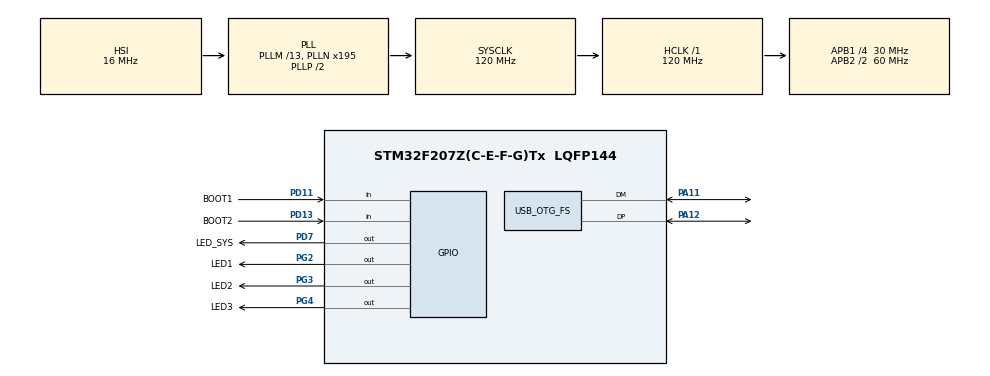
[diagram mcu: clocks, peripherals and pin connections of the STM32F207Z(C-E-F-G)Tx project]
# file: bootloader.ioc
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Mcu.Family=STM32F2
USB_DEVICE.CLASS_NAME_FS=DFU
RCC.CortexFreq_Value=120000000
PG2.GPIO_PuPd=GPIO_NOPULL
USB_DEVICE.VirtualModeFS=Dfu_FS
PG3.Signal=GPIO_Output
PG2.Signal=GPIO_Output
PG4.Signal=GPIO_Output
PD7.Signal=GPIO_Output
PA11.Mode=Device_Only
RCC.APB1CLKDivider=RCC_HCLK_DIV4
VP_USB_DEVICE_VS_USB_DEVICE_DFU_FS.Mode=DFU_FS
RCC.SYSCLKSource=RCC_SYSCLKSOURCE_PLLCLK
ProjectManager.StackSize=0x400
PD13.Signal=GPIO_Input
PA12.Signal=USB_OTG_FS_DP
PG2.PinState=GPIO_PIN_SET
ProjectManager.TargetToolchain=STM32CubeIDE
RCC.HCLKFreq_Value=120000000
PD11.GPIO_Label=BOOT1
RCC.APB2TimFreq_Value=120000000
USB_DEVICE.PRODUCT_STRING_DFU_FS=Energan DownLoad Firmware Update
RCC.LSE_VALUE=32768
RCC.AHBFreq_Value=120000000
PD7.PinState=GPIO_PIN_SET
RCC.HSE_VALUE=25000000
USB_DEVICE.USBD_DFU_APP_DEFAULT_ADD-DFU_FS=0x08000000
USB_DEVICE.MANUFACTURER_STRING-DFU_FS=Energan
board=custom
RCC.VCOOutputFreq_Value=240000000
PG3.PinState=GPIO_PIN_SET
RCC.APB2Freq_Value=60000000
USB_DEVICE.VirtualMode-DFU_FS=Dfu
PG4.GPIO_Label=LED3
Mcu.Name=STM32F207Z(C-E-F-G)Tx
PD7.GPIO_Label=LED_SYS
RCC.48MHZClocksFreq_Value=48000000
RCC.SYSCLKFreq_VALUE=120000000
PD13.GPIO_Label=BOOT2
Mcu.Package=LQFP144
PG4.PinState=GPIO_PIN_SET
PA12.Mode=Device_Only
PD11.Signal=GPIO_Input
NVIC.OTG_FS_IRQn=true\:0\:0\:false\:false\:true\:false\:true
PA11.Signal=USB_OTG_FS_DM
USB_OTG_FS.VirtualMode=Device_Only
ProjectManager.HeapSize=0x200
USB_DEVICE.USBD_DFU_MEDIA-DFU_FS=@Internal Flash/0x08008000/02*016Kg,01*064Kg,07*128Kg
RCC.HSI_VALUE=16000000
RCC.PLLQ=5
NVIC.PriorityGroup=NVIC_PRIORITYGROUP_4
RCC.APB2CLKDivider=RCC_HCLK_DIV2
RCC.PLLM=13
RCC.PLLN=195
RCC.APB1TimFreq_Value=60000000
PG3.GPIO_Label=LED2
RCC.APB1Freq_Value=30000000
PG2.GPIO_Label=LED1

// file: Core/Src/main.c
/* USER CODE BEGIN Header */
/**
  ******************************************************************************
  * @file           : main.c
  * @brief          : Main program body
  ******************************************************************************
  * @attention
  *
  * <h2><center>&copy; Copyright (c) 2020 STMicroelectronics.
  * All rights reserved.</center></h2>
  *
  * This software component is licensed by ST under BSD 3-Clause license,
  * the "License"; You may not use this file except in compliance with the
  * License. You may obtain a copy of the License at:
  *                        opensource.org/licenses/BSD-3-Clause
  *
  ******************************************************************************
  */
/* USER CODE END Header */
#include "main.h"
#include "usb_device.h"

/* USER CODE BEGIN Includes */
#include "usbd_dfu_if.h"
#include "version.h"
/* USER CODE END Includes */

/* USER CODE BEGIN PTD */
volatile const uint32_t version __attribute__((section (".version"))) =  0U | ( ( ( uint32_t )( FIRMWARE_VERSION_MAJOR ) ) << 16U ) |
                                                                              ( ( ( uint32_t )( FIRMWARE_VERSION_MINOR ) ) << 8U )  |
                                                                                ( ( uint32_t )( FIRMWARE_VERSION_PATCH ) );
/* USER CODE END PTD */

void SystemClock_Config(void);
static void MX_GPIO_Init(void);

int main(void)
{

  /* MCU Configuration--------------------------------------------------------*/

  /* Reset of all peripherals, Initializes the Flash interface and the Systick. */
  HAL_Init();

  /* Configure the system clock */
  SystemClock_Config();

  /* Initialize all configured peripherals */
  MX_GPIO_Init();
  /* USER CODE BEGIN 2 */
  if ( ( HAL_GPIO_ReadPin( BOOT1_GPIO_Port, BOOT1_Pin ) == GPIO_PIN_RESET ) &&
       ( HAL_GPIO_ReadPin( BOOT2_GPIO_Port, BOOT2_Pin ) == GPIO_PIN_RESET ) )
  {
    MX_USB_DEVICE_Init();
    HAL_GPIO_WritePin( LED1_GPIO_Port,    LED1_Pin,    GPIO_PIN_RESET );
    HAL_GPIO_WritePin( LED2_GPIO_Port,    LED2_Pin,    GPIO_PIN_RESET );
    HAL_GPIO_WritePin( LED3_GPIO_Port,    LED3_Pin,    GPIO_PIN_RESET );
    HAL_GPIO_WritePin( LED_SYS_GPIO_Port, LED_SYS_Pin, GPIO_PIN_RESET );
  }
  else
  {
    uint32_t  jumpAddress = *( __IO uint32_t* )( APP_ADDRESS + 4U );
    pFunction jump        = ( pFunction )jumpAddress;
    HAL_RCC_DeInit();
    HAL_DeInit();
    SysTick->CTRL = 0U;
    SysTick->LOAD = 0U;
    SysTick->VAL  = 0U;
    SCB->VTOR     = APP_ADDRESS;
    __set_MSP( *( __IO uint32_t* ) APP_ADDRESS );
    jump();
  }
  /* USER CODE END 2 */

  /* Infinite loop */
  while (1)
  {

  }
}

void SystemClock_Config(void)
{
  RCC_OscInitTypeDef RCC_OscInitStruct = {0};
  RCC_ClkInitTypeDef RCC_ClkInitStruct = {0};

  /** Initializes the RCC Oscillators according to the specified parameters
  * in the RCC_OscInitTypeDef structure.
  */
  RCC_OscInitStruct.OscillatorType = RCC_OSCILLATORTYPE_HSI;
  RCC_OscInitStruct.HSIState = RCC_HSI_ON;
  RCC_OscInitStruct.HSICalibrationValue = RCC_HSICALIBRATION_DEFAULT;
  RCC_OscInitStruct.PLL.PLLState = RCC_PLL_ON;
  RCC_OscInitStruct.PLL.PLLSource = RCC_PLLSOURCE_HSI;
  RCC_OscInitStruct.PLL.PLLM = 13;
  RCC_OscInitStruct.PLL.PLLN = 195;
  RCC_OscInitStruct.PLL.PLLP = RCC_PLLP_DIV2;
  RCC_OscInitStruct.PLL.PLLQ = 5;
  if (HAL_RCC_OscConfig(&RCC_OscInitStruct) != HAL_OK)
  {
    Error_Handler();
  }
  /** Initializes the CPU, AHB and APB buses clocks
  */
  RCC_ClkInitStruct.ClockType = RCC_CLOCKTYPE_HCLK|RCC_CLOCKTYPE_SYSCLK
                              |RCC_CLOCKTYPE_PCLK1|RCC_CLOCKTYPE_PCLK2;
  RCC_ClkInitStruct.SYSCLKSource = RCC_SYSCLKSOURCE_PLLCLK;
  RCC_ClkInitStruct.AHBCLKDivider = RCC_SYSCLK_DIV1;
  RCC_ClkInitStruct.APB1CLKDivider = RCC_HCLK_DIV4;
  RCC_ClkInitStruct.APB2CLKDivider = RCC_HCLK_DIV2;

  if (HAL_RCC_ClockConfig(&RCC_ClkInitStruct, FLASH_LATENCY_3) != HAL_OK)
  {
    Error_Handler();
  }
}

static void MX_GPIO_Init(void)
{
  GPIO_InitTypeDef GPIO_InitStruct = {0};

  /* GPIO Ports Clock Enable */
  __HAL_RCC_GPIOD_CLK_ENABLE();
  __HAL_RCC_GPIOG_CLK_ENABLE();
  __HAL_RCC_GPIOA_CLK_ENABLE();

  /*Configure GPIO pin Output Level */
  HAL_GPIO_WritePin(GPIOG, LED1_Pin|LED2_Pin|LED3_Pin, GPIO_PIN_SET);

  /*Configure GPIO pin Output Level */
  HAL_GPIO_WritePin(LED_SYS_GPIO_Port, LED_SYS_Pin, GPIO_PIN_SET);

  /*Configure GPIO pins : BOOT1_Pin BOOT2_Pin */
  GPIO_InitStruct.Pin = BOOT1_Pin|BOOT2_Pin;
  GPIO_InitStruct.Mode = GPIO_MODE_INPUT;
  GPIO_InitStruct.Pull = GPIO_NOPULL;
  HAL_GPIO_Init(GPIOD, &GPIO_InitStruct);

  /*Configure GPIO pins : LED1_Pin LED2_Pin LED3_Pin */
  GPIO_InitStruct.Pin = LED1_Pin|LED2_Pin|LED3_Pin;
  GPIO_InitStruct.Mode = GPIO_MODE_OUTPUT_PP;
  GPIO_InitStruct.Pull = GPIO_NOPULL;
  GPIO_InitStruct.Speed = GPIO_SPEED_FREQ_LOW;
  HAL_GPIO_Init(GPIOG, &GPIO_InitStruct);

  /*Configure GPIO pin : LED_SYS_Pin */
  GPIO_InitStruct.Pin = LED_SYS_Pin;
  GPIO_InitStruct.Mode = GPIO_MODE_OUTPUT_PP;
  GPIO_InitStruct.Pull = GPIO_NOPULL;
  GPIO_InitStruct.Speed = GPIO_SPEED_FREQ_LOW;
  HAL_GPIO_Init(LED_SYS_GPIO_Port, &GPIO_InitStruct);

}

void Error_Handler(void)
{
  __disable_irq();
  while (1)
  {
  }
}

/************************ (C) COPYRIGHT STMicroelectronics *****END OF FILE****/
